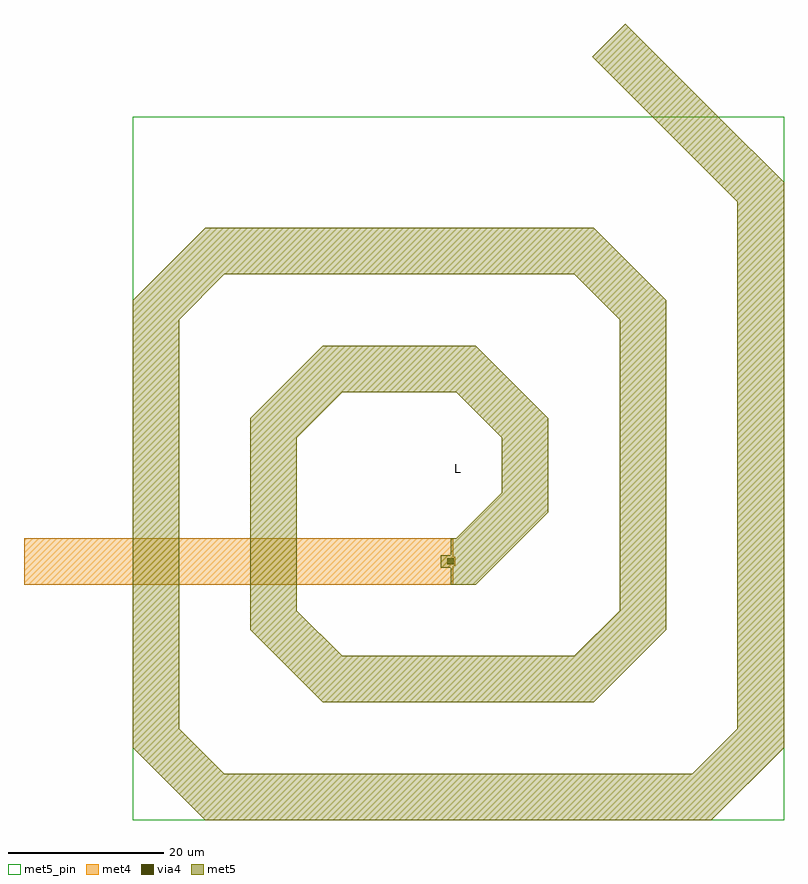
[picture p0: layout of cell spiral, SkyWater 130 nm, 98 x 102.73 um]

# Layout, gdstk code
import gdstk
lib = gdstk.Library(unit=1e-6, precision=1e-09)
def R(c, l, rs):  # rectangles x0, y0, x1, y1
    for r in rs: c.add(gdstk.rectangle(r[:2], r[2:], *l))
def P(c, l, *ps):  # polygons
    for p in ps: c.add(gdstk.Polygon(p, *l))
met4 = (71, 20)
via4 = (71, 44)
met5_pin = (72, 16)
met5 = (72, 20)

spiral = lib.new_cell('spiral')
R(spiral, met4, [(-55,-3,0.35,3), (-0.59,-0.59,0.59,0.59)])
R(spiral, via4, [(-0.4,-0.4,0.4,0.4)])
R(spiral, met5_pin, [(-41,-33.4,43,57.325)])
R(spiral, met5, [(-1.25,-0.8,1.25,0.8)])
P(spiral, met5, [(-31.65,-33.4),(-41,-24.05),(-41,33.65),(-31.65,43),(18.45,43),(27.8,33.65),(27.8,-8.85),(18.45,-18.2),(-16.45,-18.2),(-25.8,-8.85),(-25.8,18.45),(-16.45,27.8),(3.25,27.8),(12.6,18.45),(12.6,6.35),(3.25,-3),(0,-3),(0,3),(0.76,3),(6.6,8.84),(6.6,15.96),(0.76,21.8),(-13.96,21.8),(-19.8,15.96),(-19.8,-6.36),(-13.96,-12.2),(15.96,-12.2),(21.8,-6.36),(21.8,31.16),(15.96,37),(-29.16,37),(-35,31.16),(-35,-21.56),(-29.16,-27.4),(31.16,-27.4),(37,-21.56),(37,46.36),(30.28,53.08),(34.525,57.325),(43,48.85),(43,-24.05),(33.65,-33.4)],
  [(30.28,53.08),(18.28,65.08),(22.525,69.325),(34.525,57.325)])
spiral.add(gdstk.Label('L', (1,11.962), layer=72, texttype=16))
spiral.add(gdstk.Label('L', (1,11.962), layer=72, texttype=5))

lib.write_gds('spiral.gds')
